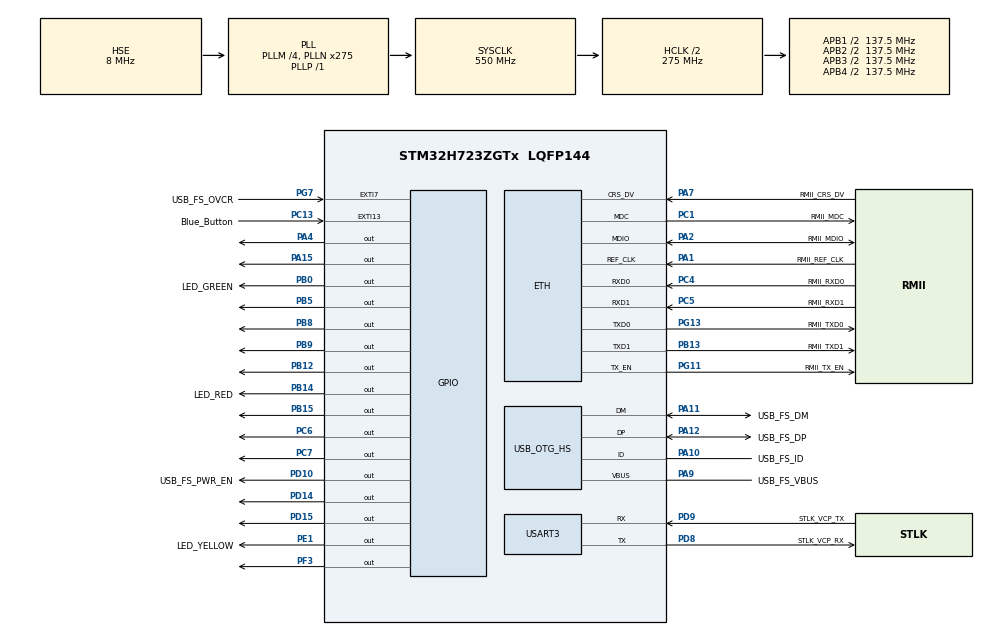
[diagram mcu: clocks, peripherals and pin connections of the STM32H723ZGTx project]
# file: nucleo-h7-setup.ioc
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ETH.MediaInterface=HAL_ETH_RMII_MODE
Mcu.Family=STM32H7
Mcu.Name=STM32H723ZGTx
Mcu.Package=LQFP144
NVIC.EXTI15_10_IRQn=true\:0\:0\:false\:false\:true\:true\:true\:true
NVIC.PriorityGroup=NVIC_PRIORITYGROUP_4
PA1.GPIO_Label=RMII_REF_CLK
PA1.Mode=RMII
PA1.Signal=ETH_REF_CLK
PA10.GPIO_Label=USB_FS_ID
PA10.Mode=OTG/Dual-Role-Device-FS
PA10.Signal=USB_OTG_HS_ID
PA11.GPIO_Label=USB_FS_DM
PA11.Mode=OTG/Dual-Role-Device-FS
PA11.Signal=USB_OTG_HS_DM
PA12.GPIO_Label=USB_FS_DP
PA12.Mode=OTG/Dual-Role-Device-FS
PA12.Signal=USB_OTG_HS_DP
PA13(JTMS/SWDIO).GPIO_Label=SWDIO
PA13(JTMS/SWDIO).Mode=Trace_Asynchronous_SW
PA13(JTMS/SWDIO).Signal=DEBUG_JTMS-SWDIO
PA14(JTCK/SWCLK).GPIO_Label=SWCLK
PA14(JTCK/SWCLK).Mode=Trace_Asynchronous_SW
PA14(JTCK/SWCLK).Signal=DEBUG_JTCK-SWCLK
PA15(JTDI).Signal=GPIO_Output
PA2.GPIO_Label=RMII_MDIO
PA2.Mode=RMII
PA2.Signal=ETH_MDIO
PA4.Signal=GPIO_Output
PA7.GPIO_Label=RMII_CRS_DV
PA7.Mode=RMII
PA7.Signal=ETH_CRS_DV
PA9.GPIO_Label=USB_FS_VBUS
PA9.Mode=Activate_VBUS_FS
PA9.Signal=USB_OTG_HS_VBUS
PB0.GPIO_Label=LED_GREEN
PB0.Signal=GPIO_Output
PB12.Signal=GPIO_Output
PB13.GPIO_Label=RMII_TXD1
PB13.Mode=RMII
PB13.Signal=ETH_TXD1
PB14.GPIO_Label=LED_RED
PB14.Signal=GPIO_Output
PB15.Signal=GPIO_Output
PB3(JTDO/TRACESWO).GPIO_Label=SWO
PB3(JTDO/TRACESWO).Mode=Trace_Asynchronous_SW
PB3(JTDO/TRACESWO).Signal=DEBUG_JTDO-SWO
PB5.Signal=GPIO_Output
PB8.Signal=GPIO_Output
PB9.Signal=GPIO_Output
PC1.GPIO_Label=RMII_MDC
PC1.Mode=RMII
PC1.Signal=ETH_MDC
PC13.GPIO_Label=Blue_Button
PC13.Signal=GPXTI13
PC14-OSC32_IN.Mode=LSE-External-Oscillator
PC14-OSC32_IN.Signal=RCC_OSC32_IN
PC15-OSC32_OUT.Mode=LSE-External-Oscillator
PC15-OSC32_OUT.Signal=RCC_OSC32_OUT
PC4.GPIO_Label=RMII_RXD0
PC4.Mode=RMII
PC4.Signal=ETH_RXD0
PC5.GPIO_Label=RMII_RXD1
PC5.Mode=RMII
PC5.Signal=ETH_RXD1
PC6.Signal=GPIO_Output
PC7.Signal=GPIO_Output
PD10.GPIO_Label=USB_FS_PWR_EN
PD10.Signal=GPIO_Output
PD14.Signal=GPIO_Output
PD15.Signal=GPIO_Output
PD8.GPIO_Label=STLK_VCP_RX
PD8.Mode=Asynchronous
PD8.Signal=USART3_TX
PD9.GPIO_Label=STLK_VCP_TX
PD9.Mode=Asynchronous
PD9.Signal=USART3_RX
PE1.GPIO_Label=LED_YELLOW
PE1.Signal=GPIO_Output
PF3.Signal=GPIO_Output
PG11.GPIO_Label=RMII_TX_EN
PG11.Mode=RMII
PG11.Signal=ETH_TX_EN
PG13.GPIO_Label=RMII_TXD0
PG13.Mode=RMII
PG13.Signal=ETH_TXD0
PG7.GPIO_Label=USB_FS_OVCR
PG7.Signal=GPXTI7
PH0-OSC_IN.GPIO_Label=MCO
PH0-OSC_IN.Mode=HSE-External-Clock-Source
PH0-OSC_IN.Signal=RCC_OSC_IN
PH1-OSC_OUT.Signal=RCC_OSC_OUT
ProjectManager.HeapSize=0x200
ProjectManager.StackSize=0x400
ProjectManager.TargetToolchain=STM32CubeIDE
RCC.ADCFreq_Value=76000000
RCC.APB1Freq_Value=137500000
RCC.APB2Freq_Value=137500000
RCC.APB3Freq_Value=137500000
RCC.APB4Freq_Value=137500000
RCC.CortexFreq_Value=550000000
RCC.D1PPRE=RCC_APB3_DIV2
RCC.D2PPRE1=RCC_APB1_DIV2
RCC.D2PPRE2=RCC_APB2_DIV2
RCC.D3PPRE=RCC_APB4_DIV2
RCC.DIVM1=4
RCC.DIVM2=1
RCC.DIVN1=275
RCC.DIVN2=19
RCC.DIVP1=1
RCC.DIVQ1=4
RCC.HCLKFreq_Value=275000000
RCC.HPRE=RCC_HCLK_DIV2
RCC.HSE_VALUE=8000000
RCC.PLLFRACN=0
RCC.PLLSourceVirtual=RCC_PLLSOURCE_HSE
RCC.SYSCLKFreq_VALUE=550000000
RCC.SYSCLKSource=RCC_SYSCLKSOURCE_PLLCLK
RCC.USBCLockSelection=RCC_USBCLKSOURCE_HSI48
RCC.USBFreq_Value=48000000
USART3.VirtualMode-Asynchronous=VM_ASYNC
board=NUCLEO-H723ZG

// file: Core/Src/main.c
/* USER CODE BEGIN Header */
/**
  ******************************************************************************
  * @file           : main.c
  * @brief          : Main program body
  ******************************************************************************
  * @attention
  *
  * Copyright (c) 2025 STMicroelectronics.
  * All rights reserved.
  *
  * This software is licensed under terms that can be found in the LICENSE file
  * in the root directory of this software component.
  * If no LICENSE file comes with this software, it is provided AS-IS.
  *
  ******************************************************************************
  */
/* USER CODE END Header */
#include "main.h"
#include "string.h"

/* USER CODE BEGIN Includes */
#include "seven_seg.h"
/* USER CODE END Includes */

#if defined ( __ICCARM__ ) /*!< IAR Compiler */
#pragma location=0x30000000
ETH_DMADescTypeDef  DMARxDscrTab[ETH_RX_DESC_CNT]; /* Ethernet Rx DMA Descriptors */
#pragma location=0x30000200
ETH_DMADescTypeDef  DMATxDscrTab[ETH_TX_DESC_CNT]; /* Ethernet Tx DMA Descriptors */

#elif defined ( __CC_ARM )  /* MDK ARM Compiler */

__attribute__((at(0x30000000))) ETH_DMADescTypeDef  DMARxDscrTab[ETH_RX_DESC_CNT]; /* Ethernet Rx DMA Descriptors */
__attribute__((at(0x30000200))) ETH_DMADescTypeDef  DMATxDscrTab[ETH_TX_DESC_CNT]; /* Ethernet Tx DMA Descriptors */

#elif defined ( __GNUC__ ) /* GNU Compiler */
ETH_DMADescTypeDef DMARxDscrTab[ETH_RX_DESC_CNT] __attribute__((section(".RxDecripSection"))); /* Ethernet Rx DMA Descriptors */
ETH_DMADescTypeDef DMATxDscrTab[ETH_TX_DESC_CNT] __attribute__((section(".TxDecripSection")));   /* Ethernet Tx DMA Descriptors */

#endif

ETH_TxPacketConfig TxConfig;

ETH_HandleTypeDef heth;

UART_HandleTypeDef huart3;

void SystemClock_Config(void);
static void MX_GPIO_Init(void);
static void MX_ETH_Init(void);
static void MX_USART3_UART_Init(void);
static void MX_USB_OTG_HS_USB_Init(void);

/* USER CODE BEGIN 0 */
volatile uint8_t mode = 0;

static SEVEN_SEG_PIN D1 = {
    .PORT = GPIOB,
    .PIN_NUM = GPIO_PIN_9
};

static SEVEN_SEG_PIN B = {
    .PORT = GPIOB,
    .PIN_NUM = GPIO_PIN_8
};

static SEVEN_SEG_PIN D2 = {
    .PORT = GPIOC,
    .PIN_NUM = GPIO_PIN_6
};

static SEVEN_SEG_PIN D4 = {
    .PORT = GPIOC,
    .PIN_NUM = GPIO_PIN_7
};

static SEVEN_SEG_PIN Dp = {
    .PORT = GPIOD,
    .PIN_NUM = GPIO_PIN_15
};

static SEVEN_SEG_PIN F = {
    .PORT = GPIOB,
    .PIN_NUM = GPIO_PIN_12
};

static SEVEN_SEG_PIN D3 = {
    .PORT = GPIOB,
    .PIN_NUM = GPIO_PIN_15
};

static SEVEN_SEG_PIN A = {
    .PORT = GPIOA,
    .PIN_NUM = GPIO_PIN_15
};

static SEVEN_SEG_PIN E = {
    .PORT = GPIOE,
    .PIN_NUM = GPIO_PIN_3
};

static SEVEN_SEG_PIN D = {
    .PORT = GPIOA,
    .PIN_NUM = GPIO_PIN_4
};

static SEVEN_SEG_PIN G = {
    .PORT = GPIOD,
    .PIN_NUM = GPIO_PIN_14
};

static SEVEN_SEG_PIN C = {
    .PORT = GPIOB,
    .PIN_NUM = GPIO_PIN_5
};
/* USER CODE END 0 */

int main(void)
{

  /* MCU Configuration--------------------------------------------------------*/

  /* Reset of all peripherals, Initializes the Flash interface and the Systick. */
  HAL_Init();

  /* Configure the system clock */
  SystemClock_Config();

  /* Initialize all configured peripherals */
  MX_GPIO_Init();
  MX_ETH_Init();
  MX_USART3_UART_Init();
  MX_USB_OTG_HS_USB_Init();

  /* Infinite loop */
  /* USER CODE BEGIN WHILE */

  uint32_t last_toggle_time = 0;
  uint32_t blink_interval = 200;

  while (1) {

      switch (mode) {
          case 0:
              blink_interval = 200;

              writeSevenSegPin(A, 0);
              writeSevenSegPin(B, 1);
              writeSevenSegPin(C, 1);
              writeSevenSegPin(D, 1);
              writeSevenSegPin(E, 0);
              writeSevenSegPin(F, 0);
              writeSevenSegPin(G, 0);
              writeSevenSegPin(Dp, 1);
              writeSevenSegPin(D1, 1);
              writeSevenSegPin(D2, 1);
              writeSevenSegPin(D3, 1);
              writeSevenSegPin(D4, 0);

              break;
          case 1:
              blink_interval = 100;
              writeSevenSegPin(A, 0);
              writeSevenSegPin(B, 0);
              writeSevenSegPin(C, 0);
              writeSevenSegPin(D, 1);
              writeSevenSegPin(E, 0);
              writeSevenSegPin(F, 0);
              writeSevenSegPin(G, 0);
              writeSevenSegPin(Dp, 1);
              writeSevenSegPin(D1, 0);
              writeSevenSegPin(D2, 0);
              writeSevenSegPin(D3, 1);
              writeSevenSegPin(D4, 1);

              break;
          case 2:
              blink_interval = 50;
              writeSevenSegPin(A, 0);
              writeSevenSegPin(B, 1);
              writeSevenSegPin(C, 1);
              writeSevenSegPin(D, 1);
              writeSevenSegPin(E, 0);
              writeSevenSegPin(F, 0);
              writeSevenSegPin(G, 0);
              writeSevenSegPin(Dp, 1);
              writeSevenSegPin(D1, 1);
              writeSevenSegPin(D2, 1);
              writeSevenSegPin(D3, 1);
              writeSevenSegPin(D4, 0);

              break;
      }

      if (HAL_GetTick() - last_toggle_time >= blink_interval) {
              last_toggle_time = HAL_GetTick();

              switch (mode) {
                  case 0:
                      HAL_GPIO_TogglePin(GPIOB, LED_GREEN_Pin);
                      break;
                  case 1:
                      HAL_GPIO_TogglePin(GPIOB, LED_RED_Pin);
                      break;
                  case 2:
                      HAL_GPIO_TogglePin(GPIOE, GPIO_PIN_1);
                      break;
              }
          }

    /* USER CODE END WHILE */

  }
}

void SystemClock_Config(void)
{
  RCC_OscInitTypeDef RCC_OscInitStruct = {0};
  RCC_ClkInitTypeDef RCC_ClkInitStruct = {0};

  /** Supply configuration update enable
  */
  HAL_PWREx_ConfigSupply(PWR_LDO_SUPPLY);

  /** Configure the main internal regulator output voltage
  */
  __HAL_PWR_VOLTAGESCALING_CONFIG(PWR_REGULATOR_VOLTAGE_SCALE0);

  while(!__HAL_PWR_GET_FLAG(PWR_FLAG_VOSRDY)) {}

  /** Initializes the RCC Oscillators according to the specified parameters
  * in the RCC_OscInitTypeDef structure.
  */
  RCC_OscInitStruct.OscillatorType = RCC_OSCILLATORTYPE_HSI48|RCC_OSCILLATORTYPE_HSE;
  RCC_OscInitStruct.HSEState = RCC_HSE_BYPASS;
  RCC_OscInitStruct.HSI48State = RCC_HSI48_ON;
  RCC_OscInitStruct.PLL.PLLState = RCC_PLL_ON;
  RCC_OscInitStruct.PLL.PLLSource = RCC_PLLSOURCE_HSE;
  RCC_OscInitStruct.PLL.PLLM = 4;
  RCC_OscInitStruct.PLL.PLLN = 275;
  RCC_OscInitStruct.PLL.PLLP = 1;
  RCC_OscInitStruct.PLL.PLLQ = 4;
  RCC_OscInitStruct.PLL.PLLR = 2;
  RCC_OscInitStruct.PLL.PLLRGE = RCC_PLL1VCIRANGE_1;
  RCC_OscInitStruct.PLL.PLLVCOSEL = RCC_PLL1VCOWIDE;
  RCC_OscInitStruct.PLL.PLLFRACN = 0;
  if (HAL_RCC_OscConfig(&RCC_OscInitStruct) != HAL_OK)
  {
    Error_Handler();
  }

  /** Initializes the CPU, AHB and APB buses clocks
  */
  RCC_ClkInitStruct.ClockType = RCC_CLOCKTYPE_HCLK|RCC_CLOCKTYPE_SYSCLK
                              |RCC_CLOCKTYPE_PCLK1|RCC_CLOCKTYPE_PCLK2
                              |RCC_CLOCKTYPE_D3PCLK1|RCC_CLOCKTYPE_D1PCLK1;
  RCC_ClkInitStruct.SYSCLKSource = RCC_SYSCLKSOURCE_PLLCLK;
  RCC_ClkInitStruct.SYSCLKDivider = RCC_SYSCLK_DIV1;
  RCC_ClkInitStruct.AHBCLKDivider = RCC_HCLK_DIV2;
  RCC_ClkInitStruct.APB3CLKDivider = RCC_APB3_DIV2;
  RCC_ClkInitStruct.APB1CLKDivider = RCC_APB1_DIV2;
  RCC_ClkInitStruct.APB2CLKDivider = RCC_APB2_DIV2;
  RCC_ClkInitStruct.APB4CLKDivider = RCC_APB4_DIV2;

  if (HAL_RCC_ClockConfig(&RCC_ClkInitStruct, FLASH_LATENCY_3) != HAL_OK)
  {
    Error_Handler();
  }
}

static void MX_ETH_Init(void)
{

   static uint8_t MACAddr[6];

  heth.Instance = ETH;
  MACAddr[0] = 0x00;
  MACAddr[1] = 0x80;
  MACAddr[2] = 0xE1;
  MACAddr[3] = 0x00;
  MACAddr[4] = 0x00;
  MACAddr[5] = 0x00;
  heth.Init.MACAddr = &MACAddr[0];
  heth.Init.MediaInterface = HAL_ETH_RMII_MODE;
  heth.Init.TxDesc = DMATxDscrTab;
  heth.Init.RxDesc = DMARxDscrTab;
  heth.Init.RxBuffLen = 1524;

  if (HAL_ETH_Init(&heth) != HAL_OK)
  {
    Error_Handler();
  }

  memset(&TxConfig, 0 , sizeof(ETH_TxPacketConfig));
  TxConfig.Attributes = ETH_TX_PACKETS_FEATURES_CSUM | ETH_TX_PACKETS_FEATURES_CRCPAD;
  TxConfig.ChecksumCtrl = ETH_CHECKSUM_IPHDR_PAYLOAD_INSERT_PHDR_CALC;
  TxConfig.CRCPadCtrl = ETH_CRC_PAD_INSERT;

}

static void MX_USART3_UART_Init(void)
{

  huart3.Instance = USART3;
  huart3.Init.BaudRate = 115200;
  huart3.Init.WordLength = UART_WORDLENGTH_8B;
  huart3.Init.StopBits = UART_STOPBITS_1;
  huart3.Init.Parity = UART_PARITY_NONE;
  huart3.Init.Mode = UART_MODE_TX_RX;
  huart3.Init.HwFlowCtl = UART_HWCONTROL_NONE;
  huart3.Init.OverSampling = UART_OVERSAMPLING_16;
  huart3.Init.OneBitSampling = UART_ONE_BIT_SAMPLE_DISABLE;
  huart3.Init.ClockPrescaler = UART_PRESCALER_DIV1;
  huart3.AdvancedInit.AdvFeatureInit = UART_ADVFEATURE_NO_INIT;
  if (HAL_UART_Init(&huart3) != HAL_OK)
  {
    Error_Handler();
  }
  if (HAL_UARTEx_SetTxFifoThreshold(&huart3, UART_TXFIFO_THRESHOLD_1_8) != HAL_OK)
  {
    Error_Handler();
  }
  if (HAL_UARTEx_SetRxFifoThreshold(&huart3, UART_RXFIFO_THRESHOLD_1_8) != HAL_OK)
  {
    Error_Handler();
  }
  if (HAL_UARTEx_DisableFifoMode(&huart3) != HAL_OK)
  {
    Error_Handler();
  }

}

static void MX_USB_OTG_HS_USB_Init(void)
{

}

static void MX_GPIO_Init(void)
{
  GPIO_InitTypeDef GPIO_InitStruct = {0};

  /* GPIO Ports Clock Enable */
  __HAL_RCC_GPIOC_CLK_ENABLE();
  __HAL_RCC_GPIOF_CLK_ENABLE();
  __HAL_RCC_GPIOH_CLK_ENABLE();
  __HAL_RCC_GPIOA_CLK_ENABLE();
  __HAL_RCC_GPIOB_CLK_ENABLE();
  __HAL_RCC_GPIOD_CLK_ENABLE();
  __HAL_RCC_GPIOG_CLK_ENABLE();
  __HAL_RCC_GPIOE_CLK_ENABLE();

  /*Configure GPIO pin Output Level */
  HAL_GPIO_WritePin(GPIOF, GPIO_PIN_3, GPIO_PIN_RESET);

  /*Configure GPIO pin Output Level */
  HAL_GPIO_WritePin(GPIOA, GPIO_PIN_4|GPIO_PIN_15, GPIO_PIN_RESET);

  /*Configure GPIO pin Output Level */
  HAL_GPIO_WritePin(GPIOB, LED_GREEN_Pin|GPIO_PIN_12|LED_RED_Pin|GPIO_PIN_15
                          |GPIO_PIN_5|GPIO_PIN_8|GPIO_PIN_9, GPIO_PIN_RESET);

  /*Configure GPIO pin Output Level */
  HAL_GPIO_WritePin(GPIOD, USB_FS_PWR_EN_Pin|GPIO_PIN_14|GPIO_PIN_15, GPIO_PIN_RESET);

  /*Configure GPIO pin Output Level */
  HAL_GPIO_WritePin(GPIOC, GPIO_PIN_6|GPIO_PIN_7, GPIO_PIN_RESET);

  /*Configure GPIO pin Output Level */
  HAL_GPIO_WritePin(LED_YELLOW_GPIO_Port, LED_YELLOW_Pin, GPIO_PIN_RESET);

  /*Configure GPIO pin : Blue_Button_Pin */
  GPIO_InitStruct.Pin = Blue_Button_Pin;
  GPIO_InitStruct.Mode = GPIO_MODE_IT_RISING;
  GPIO_InitStruct.Pull = GPIO_NOPULL;
  HAL_GPIO_Init(Blue_Button_GPIO_Port, &GPIO_InitStruct);

  /*Configure GPIO pin : PF3 */
  GPIO_InitStruct.Pin = GPIO_PIN_3;
  GPIO_InitStruct.Mode = GPIO_MODE_OUTPUT_PP;
  GPIO_InitStruct.Pull = GPIO_NOPULL;
  GPIO_InitStruct.Speed = GPIO_SPEED_FREQ_LOW;
  HAL_GPIO_Init(GPIOF, &GPIO_InitStruct);

  /*Configure GPIO pins : PA4 PA15 */
  GPIO_InitStruct.Pin = GPIO_PIN_4|GPIO_PIN_15;
  GPIO_InitStruct.Mode = GPIO_MODE_OUTPUT_PP;
  GPIO_InitStruct.Pull = GPIO_NOPULL;
  GPIO_InitStruct.Speed = GPIO_SPEED_FREQ_LOW;
  HAL_GPIO_Init(GPIOA, &GPIO_InitStruct);

  /*Configure GPIO pins : LED_GREEN_Pin PB12 LED_RED_Pin PB15
                           PB5 PB8 PB9 */
  GPIO_InitStruct.Pin = LED_GREEN_Pin|GPIO_PIN_12|LED_RED_Pin|GPIO_PIN_15
                          |GPIO_PIN_5|GPIO_PIN_8|GPIO_PIN_9;
  GPIO_InitStruct.Mode = GPIO_MODE_OUTPUT_PP;
  GPIO_InitStruct.Pull = GPIO_NOPULL;
  GPIO_InitStruct.Speed = GPIO_SPEED_FREQ_LOW;
  HAL_GPIO_Init(GPIOB, &GPIO_InitStruct);

  /*Configure GPIO pins : USB_FS_PWR_EN_Pin PD14 PD15 */
  GPIO_InitStruct.Pin = USB_FS_PWR_EN_Pin|GPIO_PIN_14|GPIO_PIN_15;
  GPIO_InitStruct.Mode = GPIO_MODE_OUTPUT_PP;
  GPIO_InitStruct.Pull = GPIO_NOPULL;
  GPIO_InitStruct.Speed = GPIO_SPEED_FREQ_LOW;
  HAL_GPIO_Init(GPIOD, &GPIO_InitStruct);

  /*Configure GPIO pin : USB_FS_OVCR_Pin */
  GPIO_InitStruct.Pin = USB_FS_OVCR_Pin;
  GPIO_InitStruct.Mode = GPIO_MODE_IT_RISING;
  GPIO_InitStruct.Pull = GPIO_NOPULL;
  HAL_GPIO_Init(USB_FS_OVCR_GPIO_Port, &GPIO_InitStruct);

  /*Configure GPIO pins : PC6 PC7 */
  GPIO_InitStruct.Pin = GPIO_PIN_6|GPIO_PIN_7;
  GPIO_InitStruct.Mode = GPIO_MODE_OUTPUT_PP;
  GPIO_InitStruct.Pull = GPIO_NOPULL;
  GPIO_InitStruct.Speed = GPIO_SPEED_FREQ_LOW;
  HAL_GPIO_Init(GPIOC, &GPIO_InitStruct);

  /*Configure GPIO pin : USB_FS_VBUS_Pin */
  GPIO_InitStruct.Pin = USB_FS_VBUS_Pin;
  GPIO_InitStruct.Mode = GPIO_MODE_INPUT;
  GPIO_InitStruct.Pull = GPIO_NOPULL;
  HAL_GPIO_Init(USB_FS_VBUS_GPIO_Port, &GPIO_InitStruct);

  /*Configure GPIO pin : USB_FS_ID_Pin */
  GPIO_InitStruct.Pin = USB_FS_ID_Pin;
  GPIO_InitStruct.Mode = GPIO_MODE_AF_PP;
  GPIO_InitStruct.Pull = GPIO_NOPULL;
  GPIO_InitStruct.Speed = GPIO_SPEED_FREQ_LOW;
  GPIO_InitStruct.Alternate = GPIO_AF10_OTG1_HS;
  HAL_GPIO_Init(USB_FS_ID_GPIO_Port, &GPIO_InitStruct);

  /*Configure GPIO pin : LED_YELLOW_Pin */
  GPIO_InitStruct.Pin = LED_YELLOW_Pin;
  GPIO_InitStruct.Mode = GPIO_MODE_OUTPUT_PP;
  GPIO_InitStruct.Pull = GPIO_NOPULL;
  GPIO_InitStruct.Speed = GPIO_SPEED_FREQ_LOW;
  HAL_GPIO_Init(LED_YELLOW_GPIO_Port, &GPIO_InitStruct);

  /* EXTI interrupt init*/
  HAL_NVIC_SetPriority(EXTI15_10_IRQn, 0, 0);
  HAL_NVIC_EnableIRQ(EXTI15_10_IRQn);

}

/* USER CODE BEGIN 4 */
void HAL_GPIO_EXTI_Callback(uint16_t GPIO_Pin)
{
	static uint32_t last_press = 0;
	if(GPIO_Pin == GPIO_PIN_13) {
	  if(HAL_GetTick() - last_press > 200) {
		  HAL_GPIO_WritePin(GPIOB, LED_GREEN_Pin, GPIO_PIN_RESET);
		  HAL_GPIO_WritePin(GPIOB, LED_RED_Pin, GPIO_PIN_RESET);
		  HAL_GPIO_WritePin(GPIOE, GPIO_PIN_1, GPIO_PIN_RESET);
		  mode = (mode + 1) % 3;
		  last_press = HAL_GetTick();
	  }

  } else {
      __NOP();
  }
}
/* USER CODE END 4 */

void Error_Handler(void)
{
  __disable_irq();
  while (1)
  {
  }
}
